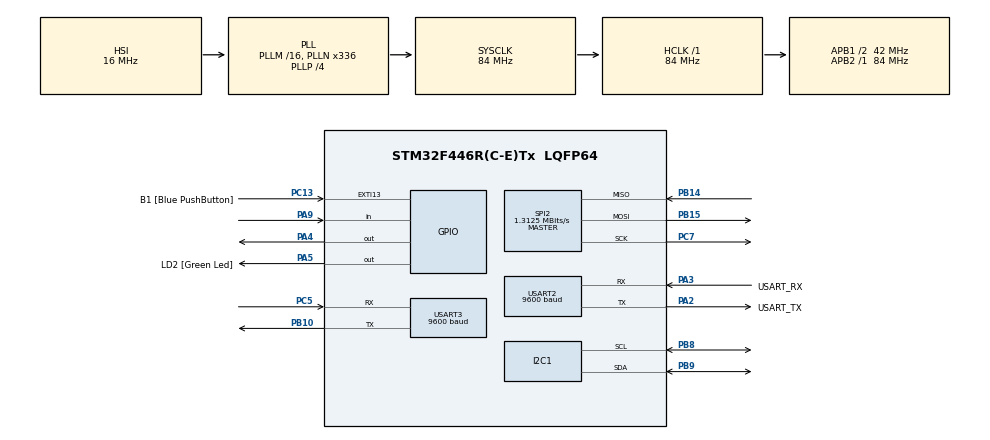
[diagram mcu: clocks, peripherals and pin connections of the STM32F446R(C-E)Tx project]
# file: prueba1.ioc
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Dma.I2C1_RX.1.Direction=DMA_PERIPH_TO_MEMORY
Dma.I2C1_RX.1.FIFOMode=DMA_FIFOMODE_DISABLE
Dma.I2C1_RX.1.Instance=DMA1_Stream0
Dma.I2C1_RX.1.MemDataAlignment=DMA_MDATAALIGN_BYTE
Dma.I2C1_RX.1.MemInc=DMA_MINC_ENABLE
Dma.I2C1_RX.1.Mode=DMA_NORMAL
Dma.I2C1_RX.1.PeriphDataAlignment=DMA_PDATAALIGN_BYTE
Dma.I2C1_RX.1.PeriphInc=DMA_PINC_DISABLE
Dma.I2C1_RX.1.Priority=DMA_PRIORITY_LOW
Dma.I2C1_TX.0.Direction=DMA_MEMORY_TO_PERIPH
Dma.I2C1_TX.0.FIFOMode=DMA_FIFOMODE_DISABLE
Dma.I2C1_TX.0.Instance=DMA1_Stream6
Dma.I2C1_TX.0.MemDataAlignment=DMA_MDATAALIGN_BYTE
Dma.I2C1_TX.0.MemInc=DMA_MINC_ENABLE
Dma.I2C1_TX.0.Mode=DMA_NORMAL
Dma.I2C1_TX.0.PeriphDataAlignment=DMA_PDATAALIGN_BYTE
Dma.I2C1_TX.0.PeriphInc=DMA_PINC_DISABLE
Dma.I2C1_TX.0.Priority=DMA_PRIORITY_LOW
Dma.Request0=I2C1_TX
Dma.Request1=I2C1_RX
Mcu.Family=STM32F4
Mcu.Name=STM32F446R(C-E)Tx
Mcu.Package=LQFP64
NVIC.DMA1_Stream0_IRQn=true\:0\:0\:false\:false\:true\:false\:true\:true
NVIC.DMA1_Stream6_IRQn=true\:0\:0\:false\:false\:true\:false\:true\:true
NVIC.PriorityGroup=NVIC_PRIORITYGROUP_0
NVIC.USART3_IRQn=true\:0\:0\:false\:false\:true\:true\:true\:true
PA13.GPIO_Label=TMS
PA13.Mode=Serial_Wire
PA13.Signal=SYS_JTMS-SWDIO
PA14.GPIO_Label=TCK
PA14.Mode=Serial_Wire
PA14.Signal=SYS_JTCK-SWCLK
PA2.GPIO_Label=USART_TX
PA2.Mode=Asynchronous
PA2.Signal=USART2_TX
PA3.GPIO_Label=USART_RX
PA3.Mode=Asynchronous
PA3.Signal=USART2_RX
PA4.GPIO_PuPd=GPIO_PULLUP
PA4.Signal=GPIO_Output
PA5.GPIO_Label=LD2 [Green Led]
PA5.GPIO_PuPd=GPIO_PULLUP
PA5.Signal=GPIO_Output
PA9.Signal=GPIO_Input
PB10.Mode=Asynchronous
PB10.Signal=USART3_TX
PB14.GPIO_PuPd=GPIO_PULLUP
PB14.Mode=Full_Duplex_Master
PB14.Signal=SPI2_MISO
PB15.GPIO_PuPd=GPIO_PULLUP
PB15.Mode=Full_Duplex_Master
PB15.Signal=SPI2_MOSI
PB3.GPIO_Label=SWO
PB3.Signal=SYS_JTDO-SWO
PB8.GPIO_Pu=GPIO_PULLUP
PB8.Mode=I2C
PB8.Signal=I2C1_SCL
PB9.GPIO_Pu=GPIO_PULLUP
PB9.Mode=I2C
PB9.Signal=I2C1_SDA
PC13.GPIO_Label=B1 [Blue PushButton]
PC13.GPIO_ModeDefaultEXTI=GPIO_MODE_IT_FALLING
PC13.Signal=GPXTI13
PC14-OSC32_IN.Mode=LSE-External-Oscillator
PC14-OSC32_IN.Signal=RCC_OSC32_IN
PC15-OSC32_OUT.Mode=LSE-External-Oscillator
PC15-OSC32_OUT.Signal=RCC_OSC32_OUT
PC5.Mode=Asynchronous
PC5.Signal=USART3_RX
PC7.GPIO_PuPd=GPIO_PULLUP
PC7.Mode=Full_Duplex_Master
PC7.Signal=SPI2_SCK
PH0-OSC_IN.Mode=HSE-External-Oscillator
PH0-OSC_IN.Signal=RCC_OSC_IN
PH1-OSC_OUT.Mode=HSE-External-Oscillator
PH1-OSC_OUT.Signal=RCC_OSC_OUT
ProjectManager.HeapSize=0x200
ProjectManager.StackSize=0x400
ProjectManager.TargetToolchain=STM32CubeIDE
RCC.48MHZClocksFreq_Value=84000000
RCC.AHBFreq_Value=84000000
RCC.APB1CLKDivider=RCC_HCLK_DIV2
RCC.APB1Freq_Value=42000000
RCC.APB1TimFreq_Value=84000000
RCC.APB2Freq_Value=84000000
RCC.APB2TimFreq_Value=84000000
RCC.CortexFreq_Value=84000000
RCC.FLatency-AdvancedSettings=FLASH_LATENCY_2
RCC.HCLKFreq_Value=84000000
RCC.HSE_VALUE=8000000
RCC.HSI_VALUE=16000000
RCC.PLLN=336
RCC.PLLP=RCC_PLLP_DIV4
RCC.SYSCLKFreq_VALUE=84000000
RCC.SYSCLKSource=RCC_SYSCLKSOURCE_PLLCLK
RCC.USBFreq_Value=168000000
RCC.VCOOutputFreq_Value=336000000
SPI2.BaudRatePrescaler=SPI_BAUDRATEPRESCALER_32
SPI2.CLKPhase=SPI_PHASE_1EDGE
SPI2.CLKPolarity=SPI_POLARITY_HIGH
SPI2.CalculateBaudRate=1.3125 MBits/s
SPI2.Direction=SPI_DIRECTION_2LINES
SPI2.Mode=SPI_MODE_MASTER
SPI2.VirtualType=VM_MASTER
USART2.BaudRate=9600
USART2.VirtualMode=VM_ASYNC
USART3.BaudRate=9600
USART3.Parity=PARITY_EVEN
USART3.VirtualMode=VM_ASYNC
USART3.WordLength=WORDLENGTH_9B
board=NUCLEO-F446RE

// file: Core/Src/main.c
/* USER CODE BEGIN Header */
/**
 ******************************************************************************
 * @file           : main.c
 * @brief          : Main program body (NUCLEO-F446RE + L3G4200D)
 ******************************************************************************
 * @attention
 *  Gyroscope Payload for CURTIS
 ******************************************************************************
 */
/* USER CODE END Header */
#include "main.h"

/* USER CODE BEGIN Includes */
#include <stdio.h>
#include <string.h>
#include <stdbool.h>
#include <math.h>
/* USER CODE END Includes */

/* USER CODE BEGIN PD */
/* Direcciones/Registros L3G4200D */
#define L3G4200D_ADDR      (0x69 << 1)  // 8-bit address (0xD2/0xD3)
#define L3G4200D_WHO_AM_I  0x0F
#define L3G4200D_CTRL_REG1 0x20
#define L3G4200D_CTRL_REG4  0x23
#define L3G4200D_OUT_X_L   0x28
#define L3G4200D_STATUS_REG  0x27
#define ZYXDA                0x08  // New data available on all axes
#define MAX_SAMPLES_TO_LOG  1
#define BYTES_PER_SAMPLE    10
/* USER CODE END PD */

I2C_HandleTypeDef hi2c1;
DMA_HandleTypeDef hdma_i2c1_tx;
DMA_HandleTypeDef hdma_i2c1_rx;

SPI_HandleTypeDef hspi2;

UART_HandleTypeDef huart2;
UART_HandleTypeDef huart3;

/* USER CODE BEGIN PV */
int16_t gyro_x, gyro_y, gyro_z;
char msg[64];
bool gyro_ok = false;
volatile uint8_t tx_busy = 0;

/* Conversion and bias */
static int16_t bias_x = 0, bias_y = 0, bias_z = 0;

/* ---- Estado para STS ---- */
volatile uint8_t flag_capture_active = 0;  // B0: logging de giroscopio
volatile uint8_t flag_flash_saving = 0;  // B1: guardando en MSFM
volatile uint8_t flag_data_transfer = 0;  // B2: transferencia (no usada aquí)

// UART routing
#define UART_PC   huart2   // Laptop / ST-Link VCP (debug)
#define UART_OBC  huart3   // Link hacia OBC (commands/responses)

#define FLASH_SECTOR_SIZE   (64UL*1024UL)
#define FLASH_PAGE_SIZE     (4UL*1024UL)
#define FLASH_SLOT_SIZE     (4UL*1024*1024UL)  // mem_block_size del PIC
#define GYRO_SLOT_INDEX     0
#define GYRO_BASE_ADDR (704UL * 64UL * 1024UL)  // = 0x02C00000
// Opcodes according to Main PIC's code
#define FLASH_CMD_RDID        0x9F
#define FLASH_CMD_RDSR        0x05
#define FLASH_CMD_WREN        0x06
#define FLASH_CMD_PP          0x12   // Page program
#define FLASH_CMD_READ        0x13   // Read 4-byte addressing
#define FLASH_CMD_ERASE_SECT  0xDC

// Macros for CS
#define FLASH_CS_LOW()  HAL_GPIO_WritePin(GPIOA, GPIO_PIN_4, GPIO_PIN_RESET)
#define FLASH_CS_HIGH() HAL_GPIO_WritePin(GPIOA, GPIO_PIN_4, GPIO_PIN_SET)

/* USER CODE END PV */

void SystemClock_Config(void);
static void MX_GPIO_Init(void);
static void MX_DMA_Init(void);
static void MX_USART2_UART_Init(void);
static void MX_I2C1_Init(void);
static void MX_SPI2_Init(void);
static void MX_USART3_UART_Init(void);
/* USER CODE BEGIN PFP */
/* Prototipos de utilidades y sensor */
static void PC_Print(const char *s);
static void PC_PrintHex64(const char *tag, const uint8_t *buf);
uint8_t I2C_ReadByte(uint8_t reg);
void I2C_WriteByte(uint8_t reg, uint8_t value);
void L3G4200D_Init(void);
bool L3G4200D_ReadGyro(int16_t *x, int16_t *y, int16_t *z);
static void Gyro_Calibrate(uint16_t n);
void log_current_gyro(uint32_t t_ms, int16_t gx, int16_t gy, int16_t gz);
uint8_t cam_checksum(const char *s);
size_t cam_build_response(const char *inner, uint8_t *out);
void handle_cam_command(const char *inner_cmd);
void CheckOBC_Task(uint32_t timeout_ms);
static void PC_PrintHexN(const char *tag, const uint8_t *buf, size_t nbytes);
static inline void UART_OBC_ClearRxErrors(void);
static inline uint8_t cmd_q_pop(char *out);
static void FLASH_PrintSR(const char *tag);
static bool FLASH_WriteStatus(uint8_t sr);
static uint8_t FLASH_ReadSR(void);

/* Prototypes for FM*/
bool FLASH_WriteEnable(void);
bool FLASH_WaitBusy(uint32_t timeout_ms);
bool FLASH_SectorErase(uint32_t addr);
bool FLASH_PageProgram(uint32_t addr, const uint8_t *data, uint32_t len);
void FLASH_Read(uint32_t addr, uint8_t *data, uint32_t len);
bool FLASH_WriteLogToMissionFlash(void);
static void build_STS_inner(char *inner, size_t inner_size);
static int hex_nibble(char c);
static bool parse_hex2(const char *p, uint8_t *out);

/* USER CODE END PFP */

/* USER CODE BEGIN 0 */
typedef struct __attribute__((packed)) {
	uint32_t t_ms;  // timestamp ms
	int16_t gx;
	int16_t gy;
	int16_t gz;
} GyroSample;

#define MAX_SAMPLES 1500
GyroSample gyro_log[MAX_SAMPLES];
uint32_t gyro_count = 0;

volatile uint8_t pending_flash_write = 0;
volatile uint8_t last_cap_result_ok = 1; // opcional

// MSN (UART)
#define CAM_MSG_LEN 64
#define OBC_HEADER  0x0B
#define CAM_HEADER  0xCA
#define INNER_MAX   32
#define CMD_Q_SIZE  16

#define RXRB_SIZE 256
static volatile uint8_t rxrb[RXRB_SIZE];
static volatile uint16_t rxrb_w = 0, rxrb_r = 0;

static volatile uint8_t cmd_q_head = 0;
static volatile uint8_t cmd_q_tail = 0;
static char cmd_q[CMD_Q_SIZE][INNER_MAX];

static volatile uint8_t pending_rst01 = 0;
static uint8_t obc_rx_byte;

/* USER CODE END 0 */

int main(void)
{

  /* MCU Configuration--------------------------------------------------------*/

  /* Reset of all peripherals, Initializes the Flash interface and the Systick. */
  HAL_Init();

  /* Configure the system clock */
  SystemClock_Config();

  /* Initialize all configured peripherals */
  MX_GPIO_Init();
  MX_DMA_Init();
  MX_USART2_UART_Init();
  MX_I2C1_Init();
  MX_SPI2_Init();
  MX_USART3_UART_Init();
  /* USER CODE BEGIN 2 */
  /*
  PC_Print("=== GPIO STATE BEFORE SPI INIT ===\r\n");

  char dbg[128];

  snprintf(dbg,sizeof(dbg),
      "CS (PA4)  = %d\r\n", HAL_GPIO_ReadPin(GPIOA, GPIO_PIN_4));
  PC_Print(dbg);

  snprintf(dbg,sizeof(dbg),
      "SCK (PC7) = %d\r\n", HAL_GPIO_ReadPin(GPIOC, GPIO_PIN_7));
  PC_Print(dbg);

  snprintf(dbg,sizeof(dbg),
      "MISO(PB14)= %d\r\n", HAL_GPIO_ReadPin(GPIOB, GPIO_PIN_14));
  PC_Print(dbg);

  snprintf(dbg,sizeof(dbg),
      "MOSI(PB15)= %d\r\n", HAL_GPIO_ReadPin(GPIOB, GPIO_PIN_15));
  PC_Print(dbg);
  */
  FLASH_CS_HIGH();
  PC_Print("\r\n[FLASH] Testing CS pin...\r\n");

  // TEST: Verificar que el CS funciona
  char dbg[64];
  uint8_t cs_before = HAL_GPIO_ReadPin(GPIOA, GPIO_PIN_4);
  snprintf(dbg, sizeof(dbg), "[TEST] CS antes: %d (debe ser 1)\r\n", cs_before);
  PC_Print(dbg);

  FLASH_CS_LOW();
  HAL_Delay(100);
  uint8_t cs_during = HAL_GPIO_ReadPin(GPIOA, GPIO_PIN_4);
  snprintf(dbg, sizeof(dbg), "[TEST] CS durante: %d (debe ser 0)\r\n", cs_during);
  PC_Print(dbg);

  FLASH_CS_HIGH();
  HAL_Delay(100);
  uint8_t cs_after = HAL_GPIO_ReadPin(GPIOA, GPIO_PIN_4);
  snprintf(dbg, sizeof(dbg), "[TEST] CS después: %d (debe ser 1)\r\n", cs_after);
  PC_Print(dbg);

  PC_Print("\r\n[FLASH] Probing RDID...\r\n");
  FLASH_Probe();

  FLASH_Enter4ByteAddr();
  PC_Print("[FLASH] Attempting to clear write protection...\r\n");
  //FLASH_GlobalUnprotect();

  //char dbg[64];

  // DIAGNOSTIC: Skip GlobalUnprotect (0x98 command appears to be wrong/unsupported)
  // Main PIC code works fine with just WREN before writes - no unprotect needed.
  // Testing hypothesis: 0x98 may not be correct for this MT25QL variant
  uint8_t sr_check = FLASH_ReadSR();
  snprintf(dbg, sizeof(dbg), "[FLASH] Current SR: 0x%02X (WIP=%d WEL=%d BP2=%d BP1=%d BP0=%d)\r\n",
      sr_check,
      (sr_check & 0x01) ? 1 : 0,
      (sr_check & 0x02) ? 1 : 0,
      (sr_check & 0x20) ? 1 : 0,
      (sr_check & 0x10) ? 1 : 0,
      (sr_check & 0x08) ? 1 : 0);
  PC_Print(dbg);
  //FLASH_PrintSR("[FLASH] SR before unlock:");
  /*
  uint8_t test_sr[5];
  for (int i = 0; i < 5; i++) {
      test_sr[i] = FLASH_ReadSR();
      snprintf(dbg, sizeof(dbg), "[FLASH] Test SR #%d = 0x%02X\r\n", i, test_sr[i]);
      PC_Print(dbg);
      HAL_Delay(100);
  }
  */
  //snprintf(dbg, sizeof(dbg), "[FLASH] WRSR returned: %s\r\n", unlock_ok ? "OK" : "FAILED");
  //PC_Print(dbg);
  //FLASH_PrintSR("[FLASH] SR after unlock:");
  HAL_UART_Receive_IT(&UART_OBC, &obc_rx_byte, 1);
  //char dbg[64];
  //snprintf(dbg,sizeof(dbg),"SR raw = 0x%02X\r\n",sr);
  //PC_Print(dbg);
	HAL_Delay(5000);
	L3G4200D_Init();
	//UART_Print("Gyro Initialized\r\n");
	//UART_Print("Keep still for bias calib...\r\n");
	Gyro_Calibrate(200);

  /* USER CODE END 2 */

  /* Infinite loop */
  /* USER CODE BEGIN WHILE */
	/* Infinite loop */
	while (1) {
		static uint32_t t0_ms = 0;
		uint32_t now_ms = HAL_GetTick();
		if (t0_ms == 0)
			t0_ms = now_ms;
		CheckOBC_Task(0);

		// 3.1) Si hubo checksum mismatch, responde UNA vez (desde main loop)
		if (!tx_busy && pending_rst01) {
		    pending_rst01 = 0;

		    uint8_t tx_buf[CAM_MSG_LEN];
		    size_t tx_len = cam_build_response("RST01", tx_buf);

		    tx_busy = 1;
		    HAL_UART_Transmit(&UART_OBC, tx_buf, CAM_MSG_LEN, 500);
		    UART_OBC_ClearRxErrors();
		    tx_busy = 0;

		    PC_PrintHexN("[TX->OBC frame] ", tx_buf, tx_len);
		    PC_Print("\r\n");
		    PC_PrintHexN("[TX->OBC 64B ] ", tx_buf, CAM_MSG_LEN);
		    PC_Print("\r\n");
		}

		// 1) Log a RAM (gyro)
		if (gyro_ok && gyro_count < MAX_SAMPLES) {
			flag_capture_active = 1;
			////CheckOBC_Task(5);
			if (L3G4200D_ReadGyro(&gyro_x, &gyro_y, &gyro_z)) {
				//CheckOBC_Task(5):
				log_current_gyro(now_ms - t0_ms, gyro_x - bias_x,
						gyro_y - bias_y, gyro_z - bias_z);
				//CheckOBC_Task(5);
			}
		} else {
			//CheckOBC_Task(5):
			flag_capture_active = 0;
		}

		// 2) Si hubo CAP, escribe flash y responde UNA vez
		if (pending_flash_write) {
			//CheckOBC_Task(5);
			pending_flash_write = 0;
			//CheckOBC_Task(5):
			bool ok = FLASH_WriteLogToMissionFlash();
			//CheckOBC_Task(5):
			last_cap_result_ok = ok ? 1 : 0;

			//CheckOBC_Task(5);

			flag_flash_saving = 0;
		}

		if (!tx_busy) {
			//CheckOBC_Task(5);
			char tmp[INNER_MAX];
			if (cmd_q_pop(tmp)) {
				handle_cam_command(tmp);
			}
		}

	}
    /* USER CODE END WHILE */

}

void SystemClock_Config(void)
{
  RCC_OscInitTypeDef RCC_OscInitStruct = {0};
  RCC_ClkInitTypeDef RCC_ClkInitStruct = {0};

  /** Configure the main internal regulator output voltage
  */
  __HAL_RCC_PWR_CLK_ENABLE();
  __HAL_PWR_VOLTAGESCALING_CONFIG(PWR_REGULATOR_VOLTAGE_SCALE3);

  /** Initializes the RCC Oscillators according to the specified parameters
  * in the RCC_OscInitTypeDef structure.
  */
  RCC_OscInitStruct.OscillatorType = RCC_OSCILLATORTYPE_HSI;
  RCC_OscInitStruct.HSIState = RCC_HSI_ON;
  RCC_OscInitStruct.HSICalibrationValue = RCC_HSICALIBRATION_DEFAULT;
  RCC_OscInitStruct.PLL.PLLState = RCC_PLL_ON;
  RCC_OscInitStruct.PLL.PLLSource = RCC_PLLSOURCE_HSI;
  RCC_OscInitStruct.PLL.PLLM = 16;
  RCC_OscInitStruct.PLL.PLLN = 336;
  RCC_OscInitStruct.PLL.PLLP = RCC_PLLP_DIV4;
  RCC_OscInitStruct.PLL.PLLQ = 2;
  RCC_OscInitStruct.PLL.PLLR = 2;
  if (HAL_RCC_OscConfig(&RCC_OscInitStruct) != HAL_OK)
  {
    Error_Handler();
  }

  /** Initializes the CPU, AHB and APB buses clocks
  */
  RCC_ClkInitStruct.ClockType = RCC_CLOCKTYPE_HCLK|RCC_CLOCKTYPE_SYSCLK
                              |RCC_CLOCKTYPE_PCLK1|RCC_CLOCKTYPE_PCLK2;
  RCC_ClkInitStruct.SYSCLKSource = RCC_SYSCLKSOURCE_PLLCLK;
  RCC_ClkInitStruct.AHBCLKDivider = RCC_SYSCLK_DIV1;
  RCC_ClkInitStruct.APB1CLKDivider = RCC_HCLK_DIV2;
  RCC_ClkInitStruct.APB2CLKDivider = RCC_HCLK_DIV1;

  if (HAL_RCC_ClockConfig(&RCC_ClkInitStruct, FLASH_LATENCY_2) != HAL_OK)
  {
    Error_Handler();
  }
}

static void MX_I2C1_Init(void)
{

  hi2c1.Instance = I2C1;
  hi2c1.Init.ClockSpeed = 100000;
  hi2c1.Init.DutyCycle = I2C_DUTYCYCLE_2;
  hi2c1.Init.OwnAddress1 = 0;
  hi2c1.Init.AddressingMode = I2C_ADDRESSINGMODE_7BIT;
  hi2c1.Init.DualAddressMode = I2C_DUALADDRESS_DISABLE;
  hi2c1.Init.OwnAddress2 = 0;
  hi2c1.Init.GeneralCallMode = I2C_GENERALCALL_DISABLE;
  hi2c1.Init.NoStretchMode = I2C_NOSTRETCH_DISABLE;
  if (HAL_I2C_Init(&hi2c1) != HAL_OK)
  {
    Error_Handler();
  }

}

static void MX_SPI2_Init(void)
{

  /* SPI2 parameter configuration*/
  hspi2.Instance = SPI2;
  hspi2.Init.Mode = SPI_MODE_MASTER;
  hspi2.Init.Direction = SPI_DIRECTION_2LINES;
  hspi2.Init.DataSize = SPI_DATASIZE_8BIT;
  hspi2.Init.CLKPolarity = SPI_POLARITY_HIGH;
  hspi2.Init.CLKPhase = SPI_PHASE_1EDGE;
  hspi2.Init.NSS = SPI_NSS_SOFT;
  hspi2.Init.BaudRatePrescaler = SPI_BAUDRATEPRESCALER_32;
  hspi2.Init.FirstBit = SPI_FIRSTBIT_MSB;
  hspi2.Init.TIMode = SPI_TIMODE_DISABLE;
  hspi2.Init.CRCCalculation = SPI_CRCCALCULATION_DISABLE;
  hspi2.Init.CRCPolynomial = 10;
  if (HAL_SPI_Init(&hspi2) != HAL_OK)
  {
    Error_Handler();
  }

}

static void MX_USART2_UART_Init(void)
{

  huart2.Instance = USART2;
  huart2.Init.BaudRate = 9600;
  huart2.Init.WordLength = UART_WORDLENGTH_8B;
  huart2.Init.StopBits = UART_STOPBITS_1;
  huart2.Init.Parity = UART_PARITY_NONE;
  huart2.Init.Mode = UART_MODE_TX_RX;
  huart2.Init.HwFlowCtl = UART_HWCONTROL_NONE;
  huart2.Init.OverSampling = UART_OVERSAMPLING_16;
  if (HAL_UART_Init(&huart2) != HAL_OK)
  {
    Error_Handler();
  }

}

static void MX_USART3_UART_Init(void)
{

  huart3.Instance = USART3;
  huart3.Init.BaudRate = 9600;
  huart3.Init.WordLength = UART_WORDLENGTH_9B;
  huart3.Init.StopBits = UART_STOPBITS_1;
  huart3.Init.Parity = UART_PARITY_EVEN;
  huart3.Init.Mode = UART_MODE_TX_RX;
  huart3.Init.HwFlowCtl = UART_HWCONTROL_NONE;
  huart3.Init.OverSampling = UART_OVERSAMPLING_16;
  if (HAL_UART_Init(&huart3) != HAL_OK)
  {
    Error_Handler();
  }

}

static void MX_DMA_Init(void)
{

  /* DMA controller clock enable */
  __HAL_RCC_DMA1_CLK_ENABLE();

  /* DMA interrupt init */
  /* DMA1_Stream0_IRQn interrupt configuration */
  HAL_NVIC_SetPriority(DMA1_Stream0_IRQn, 0, 0);
  HAL_NVIC_EnableIRQ(DMA1_Stream0_IRQn);
  /* DMA1_Stream6_IRQn interrupt configuration */
  HAL_NVIC_SetPriority(DMA1_Stream6_IRQn, 0, 0);
  HAL_NVIC_EnableIRQ(DMA1_Stream6_IRQn);

}

static void MX_GPIO_Init(void)
{
  GPIO_InitTypeDef GPIO_InitStruct = {0};

  /* GPIO Ports Clock Enable */
  __HAL_RCC_GPIOC_CLK_ENABLE();
  __HAL_RCC_GPIOH_CLK_ENABLE();
  __HAL_RCC_GPIOA_CLK_ENABLE();
  __HAL_RCC_GPIOB_CLK_ENABLE();

  /*Configure GPIO pin Output Level */
  HAL_GPIO_WritePin(GPIOA, GPIO_PIN_4|LD2_Pin, GPIO_PIN_RESET);

  /*Configure GPIO pin : B1_Pin */
  GPIO_InitStruct.Pin = B1_Pin;
  GPIO_InitStruct.Mode = GPIO_MODE_IT_FALLING;
  GPIO_InitStruct.Pull = GPIO_NOPULL;
  HAL_GPIO_Init(B1_GPIO_Port, &GPIO_InitStruct);

  /*Configure GPIO pins : PA4 LD2_Pin */
  GPIO_InitStruct.Pin = GPIO_PIN_4|LD2_Pin;
  GPIO_InitStruct.Mode = GPIO_MODE_OUTPUT_PP;
  GPIO_InitStruct.Pull = GPIO_PULLUP;
  GPIO_InitStruct.Speed = GPIO_SPEED_FREQ_LOW;
  HAL_GPIO_Init(GPIOA, &GPIO_InitStruct);

  /*Configure GPIO pin : PA9 */
  GPIO_InitStruct.Pin = GPIO_PIN_9;
  GPIO_InitStruct.Mode = GPIO_MODE_INPUT;
  GPIO_InitStruct.Pull = GPIO_NOPULL;
  HAL_GPIO_Init(GPIOA, &GPIO_InitStruct);

}

/* USER CODE BEGIN 4 */
void FLASH_GlobalUnprotect(void)
{
    // Step 1: Write 0x00 to clear SRWD (status register write disable) and BP bits
    // This also clears WEL, WIP in the process

    if (!FLASH_WriteEnable()) {
        PC_Print("[FLASH] WREN failed\r\n");
        return;
    }

    uint8_t cmd[2] = { 0x01, 0x00 }; // WRSR with 0x00
    FLASH_CS_LOW();
    HAL_SPI_Transmit(&hspi2, cmd, 2, 200);
    FLASH_CS_HIGH();

    HAL_Delay(100); // Wait for WRSR to complete

    uint8_t sr_after = FLASH_ReadSR();
    char dbg[100];
    snprintf(dbg, sizeof(dbg),
        "[FLASH] After WRSR(0x00): SR=0x%02X (SRWD=%d BP3=%d BP2=%d BP1=%d BP0=%d)\r\n",
        sr_after,
        (sr_after & 0x40) ? 1 : 0,  // SRWD bit 6
        (sr_after & 0x20) ? 1 : 0,  // BP3 bit 5
        (sr_after & 0x10) ? 1 : 0,  // BP2 bit 4
        (sr_after & 0x08) ? 1 : 0,  // BP1 bit 3
        (sr_after & 0x04) ? 1 : 0); // BP0 bit 2
    PC_Print(dbg);
}
static void SPI_GPIO_Snapshot(const char *tag)
{
    char dbg[128];

    snprintf(dbg, sizeof(dbg),
        "%s | SCK=%d MOSI=%d MISO=%d CS=%d\r\n",
        tag,
        HAL_GPIO_ReadPin(GPIOC, GPIO_PIN_7),   // SCK SPI2
        HAL_GPIO_ReadPin(GPIOB, GPIO_PIN_15),  // MOSI SPI2
        HAL_GPIO_ReadPin(GPIOB, GPIO_PIN_14),  // MISO SPI2
        HAL_GPIO_ReadPin(GPIOA, GPIO_PIN_4));  // CS
    PC_Print(dbg);
}

static void FLASH_PrintSR(const char *tag)
{
    uint8_t sr = FLASH_ReadSR();
    char s[80];
    snprintf(s, sizeof(s),
             "%s SR=0x%02X  WIP=%u  WEL=%u  BP=%u%u%u\r\n",
             tag, sr,
             (sr & 0x01) ? 1 : 0,
             (sr & 0x02) ? 1 : 0,
             (sr & 0x20) ? 1 : 0,  // BP2
             (sr & 0x10) ? 1 : 0,  // BP1
             (sr & 0x08) ? 1 : 0   // BP0  (ojo: en algunos chips BP bits pueden variar)
    );
    PC_Print(s);
}
static uint8_t FLASH_ReadSR(void)
{
    uint8_t cmd = FLASH_CMD_RDSR; // 0x05
    uint8_t sr  = 0;
    FLASH_CS_LOW();
    HAL_SPI_Transmit(&hspi2, &cmd, 1, 100);
    HAL_SPI_Receive(&hspi2, &sr,  1, 100);
    FLASH_CS_HIGH();
    return sr;
}

void FLASH_Enter4ByteAddr(void)
{
    uint8_t cmd = 0xB7; // Enter 4-byte address mode
    FLASH_CS_LOW();
    HAL_SPI_Transmit(&hspi2, &cmd, 1, 100);
    FLASH_CS_HIGH();
    PC_Print("[FLASH] Entered 4-byte address mode\r\n");
}

static void FLASH_DumpHex(const char *tag, const uint8_t *b, uint32_t n)
{
    char line[64];
    PC_Print(tag);
    for (uint32_t i = 0; i < n; i++) {
        snprintf(line, sizeof(line), "%02X ", b[i]);
        PC_Print(line);
    }
    PC_Print("\r\n");
}

/* Lee usando tu comando 0x13 (4-byte address) */
static void FLASH_Read_4B(uint32_t addr, uint8_t *data, uint32_t len)
{
    uint8_t cmd[5];
    cmd[0] = FLASH_CMD_READ; // 0x13
    cmd[1] = (addr >> 24) & 0xFF;
    cmd[2] = (addr >> 16) & 0xFF;
    cmd[3] = (addr >> 8)  & 0xFF;
    cmd[4] = (addr >> 0)  & 0xFF;

    FLASH_CS_LOW();
    HAL_SPI_Transmit(&hspi2, cmd, 5, 200);
    HAL_SPI_Receive(&hspi2, data, len, 200);
    FLASH_CS_HIGH();
}
static inline int rxrb_pop(uint8_t *out) {
    if (rxrb_r == rxrb_w) return 0;
    *out = rxrb[rxrb_r];
    rxrb_r = (rxrb_r + 1) % RXRB_SIZE;
    return 1;
}

void HAL_UART_RxCpltCallback(UART_HandleTypeDef *huart)
{
    if (huart->Instance == UART_OBC.Instance) {
        uint16_t next = (rxrb_w + 1) % RXRB_SIZE;
        if (next != rxrb_r) {          // no lleno
            rxrb[rxrb_w] = obc_rx_byte;
            rxrb_w = next;
        }
        HAL_UART_Receive_IT(&UART_OBC, &obc_rx_byte, 1);
    }
}

void HAL_UART_ErrorCallback(UART_HandleTypeDef *huart)
{
    if (huart->Instance == UART_OBC.Instance) {
        UART_OBC_ClearRxErrors();
        HAL_UART_AbortReceive_IT(&UART_OBC);
        HAL_UART_Receive_IT(&UART_OBC, &obc_rx_byte, 1);
    }
}
static inline void UART_OBC_ClearRxErrors(void) {
    __HAL_UART_CLEAR_OREFLAG(&UART_OBC);
    __HAL_UART_CLEAR_FEFLAG(&UART_OBC);
    __HAL_UART_CLEAR_NEFLAG(&UART_OBC);
    __HAL_UART_CLEAR_PEFLAG(&UART_OBC);
}

static inline uint8_t cmd_q_is_empty(void) {
	return (cmd_q_head == cmd_q_tail);
}
static inline uint8_t cmd_q_is_full(void) {
	return ((uint8_t) (cmd_q_head + 1) % CMD_Q_SIZE) == cmd_q_tail;
}
static inline void cmd_q_push(const char *s) {
  __disable_irq();
  if (cmd_q_is_full()) { __enable_irq(); return; }

  strncpy(cmd_q[cmd_q_head], s, INNER_MAX-1);
  cmd_q[cmd_q_head][INNER_MAX-1] = '\0';
  cmd_q_head = (uint8_t)(cmd_q_head + 1) % CMD_Q_SIZE;
  __enable_irq();
}

static inline uint8_t cmd_q_pop(char *out) {
  __disable_irq();
  if (cmd_q_is_empty()) { __enable_irq(); return 0; }

  strncpy(out, cmd_q[cmd_q_tail], INNER_MAX);
  cmd_q_tail = (uint8_t)(cmd_q_tail + 1) % CMD_Q_SIZE;
  __enable_irq();
  return 1;
}

static int hex_nibble(char c) {
	if (c >= '0' && c <= '9')
		return c - '0';
	if (c >= 'A' && c <= 'F')
		return 10 + (c - 'A');
	if (c >= 'a' && c <= 'f')
		return 10 + (c - 'a');
	return -1;
}

static bool parse_hex2(const char *p, uint8_t *out) {
	int hi = hex_nibble(p[0]);
	int lo = hex_nibble(p[1]);
	if (hi < 0 || lo < 0)
		return false;
	*out = (uint8_t) ((hi << 4) | lo);
	return true;
}

void FLASH_Probe(void)
{
    uint8_t tx[4] = { FLASH_CMD_RDID, 0x00, 0x00, 0x00 };
    uint8_t rx[4] = { 0 };

    //SPI_GPIO_Snapshot("RDID before CS");

    FLASH_CS_LOW();
    //SPI_GPIO_Snapshot("RDID after CS LOW");

    HAL_StatusTypeDef st =
        HAL_SPI_TransmitReceive(&hspi2, tx, rx, sizeof(tx), 200);

    //SPI_GPIO_Snapshot("RDID after TXRX");

    FLASH_CS_HIGH();
    //SPI_GPIO_Snapshot("RDID after CS HIGH");

    if (st != HAL_OK) {
        PC_Print("[FLASH][ERR] SPI TxRx failed\r\n");
    }

    char id_dbg[64];
    snprintf(id_dbg, sizeof(id_dbg),
             "[FLASH] RDID = %02X %02X %02X\r\n",
             rx[1], rx[2], rx[3]);
    PC_Print(id_dbg);
}
/* ======== Utilidades UART/I2C y manejo de giroscopio ======== */
static void PC_Print(const char *s) {
	HAL_UART_Transmit(&UART_PC, (uint8_t*) s, strlen(s), 500);
}

static void PC_PrintHex64(const char *tag, const uint8_t *buf) {
	char line[256];
	int n = 0;

	n += snprintf(line + n, sizeof(line) - n, "%s", tag);
	for (int i = 0; i < CAM_MSG_LEN; i++) {
		n += snprintf(line + n, sizeof(line) - n, "%02X ", buf[i]);
		if (n >= (int) sizeof(line) - 4)
			break;
	}
	n += snprintf(line + n, sizeof(line) - n, "\r\n");
	PC_Print(line);
}

static void PC_PrintHexN(const char *tag, const uint8_t *buf, size_t nbytes) {
	char line[512];   // <-- antes 256
	int n = 0;
	n += snprintf(line + n, sizeof(line) - n, "%s", tag);
	for (size_t i = 0; i < nbytes; i++) {
		n += snprintf(line + n, sizeof(line) - n, "%02X ", buf[i]);
		if (n >= (int) sizeof(line) - 4)
			break;
	}
	n += snprintf(line + n, sizeof(line) - n, "\r\n");
	PC_Print(line);
}

uint8_t I2C_ReadByte(uint8_t reg) {
	uint8_t data;
	HAL_I2C_Mem_Read(&hi2c1, L3G4200D_ADDR, reg, I2C_MEMADD_SIZE_8BIT, &data, 1,
			100);
	return data;
}

void I2C_WriteByte(uint8_t reg, uint8_t value) {
	HAL_I2C_Mem_Write(&hi2c1, L3G4200D_ADDR, reg, I2C_MEMADD_SIZE_8BIT, &value,
			1, 100);
}

void L3G4200D_Init(void) {
	uint8_t who = I2C_ReadByte(L3G4200D_WHO_AM_I);
	if (who != 0xD3) {
		PC_Print("L3G4200D not found! WHO_AM_I failed.\r\n");
		gyro_ok = false;
		return;
	} else {
		PC_Print("L3G4200D detected successfully.\r\n");
		gyro_ok = true;
	}

	I2C_WriteByte(L3G4200D_CTRL_REG1, 0x0F);
	I2C_WriteByte(L3G4200D_CTRL_REG4, 0x00);
}

static void I2C_RecoverIfNeeded(void) {
	// Si el bus quedó en estado BUSY/AF/ARLO/BERR, reinicia el periférico I2C1
	if (__HAL_I2C_GET_FLAG(&hi2c1, I2C_FLAG_BUSY)) {
		// Deshabilita/rehabilita periférico (soft reset de I2C)
		__HAL_I2C_DISABLE(&hi2c1);
		HAL_Delay(1);
		__HAL_I2C_ENABLE(&hi2c1);
	}
}

static void Gyro_Calibrate(uint16_t n) {
	int32_t sx = 0, sy = 0, sz = 0;
	int16_t x, y, z;
	for (uint16_t i = 0; i < n; i++) {
		while (!L3G4200D_ReadGyro(&x, &y, &z)) {
			HAL_Delay(1);
		}
		sx += x;
		sy += y;
		sz += z;
		HAL_Delay(2);
	}
	bias_x = (int16_t) (sx / (int32_t) n);
	bias_y = (int16_t) (sy / (int32_t) n);
	bias_z = (int16_t) (sz / (int32_t) n);
}

bool L3G4200D_ReadGyro(int16_t *x, int16_t *y, int16_t *z) {
	//CheckOBC_Task(5);
	uint8_t status = I2C_ReadByte(L3G4200D_STATUS_REG);
	if ((status & ZYXDA) == 0) {
		return false;
	}
	//CheckOBC_Task(5);
	uint8_t buf[6];
	HAL_StatusTypeDef st = HAL_I2C_Mem_Read(&hi2c1, L3G4200D_ADDR,
			(L3G4200D_OUT_X_L | 0x80),
			I2C_MEMADD_SIZE_8BIT, buf, 6, 10);
	//CheckOBC_Task(5);
	if (st != HAL_OK) {
		//CheckOBC_Task(5);
		I2C_RecoverIfNeeded();
		st = HAL_I2C_Mem_Read(&hi2c1, L3G4200D_ADDR, (L3G4200D_OUT_X_L | 0x80),
		I2C_MEMADD_SIZE_8BIT, buf, 6, 10);
		if (st != HAL_OK) {
			//CheckOBC_Task(5);
			HAL_I2C_DeInit(&hi2c1);
			HAL_I2C_Init(&hi2c1);
			return false;
		}
	}
	//CheckOBC_Task(5);

	*x = (int16_t) ((buf[1] << 8) | buf[0]);
	*y = (int16_t) ((buf[3] << 8) | buf[2]);
	*z = (int16_t) ((buf[5] << 8) | buf[4]);
	return true;
}

void log_current_gyro(uint32_t t_ms, int16_t gx, int16_t gy, int16_t gz) {
	//CheckOBC_Task(5);
	if (gyro_count >= MAX_SAMPLES)
		return;
	//CheckOBC_Task(5);
	gyro_log[gyro_count].t_ms = t_ms;
	gyro_log[gyro_count].gx = gx;
	gyro_log[gyro_count].gy = gy;
	gyro_log[gyro_count].gz = gz;
	gyro_count++;
	//CheckOBC_Task(5);
}

uint8_t cam_checksum(const char *s) {
	uint8_t c = 0;
	while (*s) {
		c ^= (uint8_t) (*s++);
	}
	return c;
}

static uint8_t cam_checksum_xor64(const uint8_t *frame64) {
	// XOR bytes 1..61 (excluye header [0], checksum [62] y footer [63])
	uint8_t c = 0;
	for (int i = 1; i <= 61; i++)
		c ^= frame64[i];
	return c;
}

static char hex_digit(uint8_t v) {
	v &= 0x0F;
	return (v < 10) ? ('0' + v) : ('A' + (v - 10));
}

static uint8_t cam_checksum_xor_range(const uint8_t *buf, int start, int end) {
	uint8_t c = 0;
	for (int i = start; i <= end; i++)
		c ^= buf[i];
	return c;
}

size_t cam_build_response(const char *inner, uint8_t *out) {
	//CheckOBC_Task(5);
	memset(out, 0, CAM_MSG_LEN);     // 64 bytes

	out[0] = CAM_HEADER;             // 0xCA
	//CheckOBC_Task(5);
	// inner goes in [1..60] max (because [61..62] are checksum ASCII)
	size_t len = strlen(inner);
	if (len > 60)
		len = 60;
	memcpy(&out[1], inner, len);
	//CheckOBC_Task(5);
	// checksum XOR of the C-string (stops at '\0')
	uint8_t cs = 0;
	for (int i = 1; i <= 60; i++)
		cs ^= out[i];
	//CheckOBC_Task(5);
	// place checksum as 2 ASCII hex digits at [61] and [62]
	out[61] = (uint8_t) hex_digit(cs >> 4);
	out[62] = (uint8_t) hex_digit(cs);
	//CheckOBC_Task(5);
	// footer fixed at last byte
	out[63] = CAM_HEADER + 1;        // 0xCB
	//CheckOBC_Task(5);
	uint8_t cs_str = cam_checksum(inner);
	uint8_t cs_fix = cam_checksum_xor_range(out, 1, 60);
	//CheckOBC_Task(5);
	char dbg[96];
	snprintf(dbg, sizeof(dbg),
			"DBG: cs_str=%02X cs_fix(1..60)=%02X ascii=%c%c\r\n", cs_str,
			cs_fix, out[61], out[62]);
	PC_Print(dbg);
	//CheckOBC_Task(5);
	return CAM_MSG_LEN;
}

void handle_cam_command(const char *inner_cmd) {
	//CheckOBC_Task(0);
	uint8_t tx_buf[CAM_MSG_LEN];
	size_t tx_len = 0;
	//CheckOBC_Task(0);
	snprintf(msg, sizeof(msg), "CMD from OBC: %s\r\n", inner_cmd);
	PC_Print(msg);
	//CheckOBC_Task(0);
	if (strncmp(inner_cmd, "STS", 3) == 0) {
		char inner[16];
		//CheckOBC_Task(0);
		build_STS_inner(inner, sizeof(inner));
		//CheckOBC_Task(0);
		tx_len = cam_build_response(inner, tx_buf);

	} else if (strncmp(inner_cmd, "TIM", 3) == 0) {
		tx_len = cam_build_response("TIM00", tx_buf);

	} else if (strncmp(inner_cmd, "CAP", 3) == 0) {

	    // Responde CAP00 pero difiere la escritura a MSFM
	    // Espera al comando PDN para evitar contención durante camera mission
	    // NO establecer flag_flash_saving ni pending_flash_write aquí

	    tx_len = cam_build_response("CAP00", tx_buf);
	    tx_busy = 1;
	    HAL_UART_Transmit(&UART_OBC, tx_buf, CAM_MSG_LEN, 500);
	    UART_OBC_ClearRxErrors();
	    tx_busy = 0;

	    PC_PrintHexN("[TX->OBC frame] ", tx_buf, tx_len);
	    PC_Print("\r\n");
	    PC_PrintHexN("[TX->OBC 64B ] ", tx_buf, CAM_MSG_LEN);
	    PC_Print("\r\n");

	    return;
	} else if (strncmp(inner_cmd, "JPG", 3) == 0) {
		tx_len = cam_build_response("JPG00", tx_buf);

	} else if (strncmp(inner_cmd, "CMC", 3) == 0) {
		tx_len = cam_build_response("CMC00", tx_buf);

	} else if (strncmp(inner_cmd, "PDN", 3) == 0) {

	    // Ahora que termina la camera mission, iniciar escritura a MSFM
	    // Esto evita contención con la secuencia de cámara
	    flag_flash_saving = 1;
	    pending_flash_write = 1;

	    tx_len = cam_build_response("PDN00", tx_buf);

	} else if (strncmp(inner_cmd, "RST", 3) == 0) {
		tx_len = cam_build_response("RST00", tx_buf);

	} else if (strncmp(inner_cmd, "OWT", 3) == 0) {
		tx_len = cam_build_response("OWT00", tx_buf);

	} else if (strncmp(inner_cmd, "CAN", 3) == 0) {
		tx_len = cam_build_response("CAN00", tx_buf);

	} else if (strncmp(inner_cmd, "NUM", 3) == 0) {
		tx_len = cam_build_response("NUM00000", tx_buf);

	} else if (strncmp(inner_cmd, "IMG", 3) == 0) {
		tx_len = cam_build_response("IMG000000000000", tx_buf);

	} else if (strncmp(inner_cmd, "CMW", 3) == 0) {
		tx_len = cam_build_response("CMW00", tx_buf);

	} else if (strncmp(inner_cmd, "CMR", 3) == 0) {
		tx_len = cam_build_response("CMR0000", tx_buf);

	} else {
		tx_len = cam_build_response("RST01", tx_buf);
	}
	//CheckOBC_Task(5);
	//HAL_Delay(20);
	if (tx_len > 0 && tx_buf[tx_len - 1] != 0xCB) {
		PC_Print("ERR: tx footer not CB!\r\n");
	}

	char dbg2[64];
	snprintf(dbg2, sizeof(dbg2), "DBG2: tx_len=%u last=%02X\r\n",
			(unsigned) tx_len, tx_buf[tx_len - 1]);
	PC_Print(dbg2);

	tx_busy = 1;
	HAL_UART_Transmit(&UART_OBC, tx_buf, CAM_MSG_LEN, 500);
	UART_OBC_ClearRxErrors();
	tx_busy = 0;
	//HAL_Delay(10);
	//CheckOBC_Task(5);
	// 1) Frame real (útil para ver header, inner, checksum y CB rápido)
	PC_PrintHexN("[TX->OBC frame] ", tx_buf, tx_len);
	PC_Print("\r\n");
	//CheckOBC_Task(5);
	// 2) Paquete completo (útil para confirmar padding y que CB sí está dentro de 64)
	PC_PrintHexN("[TX->OBC 64B ] ", tx_buf, CAM_MSG_LEN);
	PC_Print("\r\n");
}

// Makes sure Payload sends STS even while it is writing data to MSFM
// Footer-terminated parser (Main PIC style): header 0x0B ... checksum(2 ASCII) ... footer 0x0C
void CheckOBC_Task(uint32_t timeout_ms_unused)
{

	static uint8_t reentry = 0;
	if (reentry) return;
	reentry = 1;

    (void)timeout_ms_unused;

    // Buffer para un frame "variable", pero con límite
    static uint8_t rx_buf[CAM_MSG_LEN];   // puedes dejar 64 como máximo permitido
    static uint8_t rx_pos = 0;
    static uint8_t in_frame = 0;
    static uint32_t t0 = 0;

    const uint8_t HDR = OBC_HEADER;       // 0x0B
    const uint8_t FTR = (OBC_HEADER + 1); // 0x0C

    // Si se quedó a medias mucho tiempo, resetea
    if (in_frame && (HAL_GetTick() - t0) > 150) {
        in_frame = 0;
        rx_pos = 0;
    }

    // Si estás transmitiendo, no leas (tu lógica actual)
    /*
    if (tx_busy) {
        return;
    }
    */

    uint8_t b;

    // Lee todo lo disponible sin bloquear
    while (rxrb_pop(&b))
    {
        // Espera header
        if (!in_frame) {
            if (b == HDR) {
                in_frame = 1;
                rx_pos = 0;
                rx_buf[rx_pos++] = b;
                t0 = HAL_GetTick();
            }
            continue;
        }

        // Re-sync: si aparece un nuevo header dentro del frame, reinicia
        if (b == HDR) {
            rx_pos = 0;
            rx_buf[rx_pos++] = b;
            t0 = HAL_GetTick();
            continue;
        }

        // Guarda byte si hay espacio
        if (rx_pos < CAM_MSG_LEN) {
            rx_buf[rx_pos++] = b;
        } else {
            // overflow -> drop frame
            in_frame = 0;
            rx_pos = 0;
            continue;
        }

        // Si llegó footer, parsea YA (frame variable)
        if (b == FTR)
        {
        	PC_PrintHexN("[RX<-OBC frame] ", rx_buf, rx_pos);
        	PC_Print("\r\n");

            int footer_pos = (int)rx_pos - 1;   // índice donde está el footer

            // Necesitas mínimo: [HDR][3 cmd][2 cs][FTR] => 1 + 3 + 2 + 1 = 7
            // En general: inner_len >= 3
            if (footer_pos >= (1 + 3 + 2))
            {
                int inner_len = footer_pos - 1 - 2;  // bytes entre header y checksum
                if (inner_len > 0 && inner_len < INNER_MAX)
                {
                    char inner[INNER_MAX];
                    memcpy(inner, &rx_buf[1], inner_len);
                    inner[inner_len] = '\0';

                    char cs_ascii[3];
                    cs_ascii[0] = (char)rx_buf[footer_pos - 2];
                    cs_ascii[1] = (char)rx_buf[footer_pos - 1];
                    cs_ascii[2] = '\0';

                    uint8_t cs_rx = 0;
                    if (parse_hex2(cs_ascii, &cs_rx))
                    {
                        uint8_t cs_calc = cam_checksum(inner);

                        if (cs_rx == cs_calc) {
                            // OK -> encola comando
                            cmd_q_push(inner);
                        } else {
                        	pending_rst01 = 1;
                        }
                    }
                }
            }

            // Frame terminado: reset para el siguiente
            in_frame = 0;
            rx_pos = 0;

            // OJO: salimos para que el main loop procese cmd_q -> handle_cam_command()
            break;
        }
    }
    reentry = 0;

}

bool FLASH_WriteEnable(void)
{
	char dbg[64];
    uint8_t cmd = FLASH_CMD_WREN; // 0x06

    FLASH_CS_LOW();
    if (HAL_SPI_Transmit(&hspi2, &cmd, 1, 100) != HAL_OK) {
        FLASH_CS_HIGH();
        return false;
    }
    FLASH_CS_HIGH();

    // confirma WEL
    uint8_t sr = FLASH_ReadSR();
    snprintf(dbg, sizeof(dbg), "[DEBUG] SR before write: 0x%02X WEL=%d\r\n",
        sr, (sr & 0x02) ? 1 : 0);
    PC_Print(dbg);
    return true;
}

bool FLASH_WaitBusy(uint32_t timeout_ms) {
    uint8_t cmd = FLASH_CMD_RDSR; // 0x05
    uint8_t status = 0x01;
    uint32_t t0 = HAL_GetTick();
    uint32_t attempt = 0;

    while (1) {
        FLASH_CS_LOW();
        if (HAL_SPI_Transmit(&hspi2, &cmd, 1, 100) != HAL_OK) {
            FLASH_CS_HIGH();
            PC_Print("[FLASH][WAITBUSY] Transmit failed\r\n");
            return false;
        }
        if (HAL_SPI_Receive(&hspi2, &status, 1, 100) != HAL_OK) {
            FLASH_CS_HIGH();
            PC_Print("[FLASH][WAITBUSY] Receive failed\r\n");
            return false;
        }
        FLASH_CS_HIGH();

        if ((status & 0x01) == 0) {
            PC_Print("[FLASH][WAITBUSY] Done!\r\n");
            return true;
        }

        if ((HAL_GetTick() - t0) > timeout_ms) {
            char dbg[80];
            //snprintf(dbg, sizeof(dbg), "[FLASH][WAITBUSY] TIMEOUT at attempt %lu, last SR=0x%02X\r\n",
                     //attempt, status);
            //PC_Print(dbg);
            return false;
        }
        attempt++;
        HAL_Delay(10);
    }
}

bool FLASH_SectorErase(uint32_t addr)
{
    uint8_t cmd[5] = {
        FLASH_CMD_ERASE_SECT,
        (addr >> 24) & 0xFF,
        (addr >> 16) & 0xFF,
        (addr >>  8) & 0xFF,
        (addr >>  0) & 0xFF
    };

    //FLASH_PrintSR("[FLASH] Before WREN:");

    if (!FLASH_WriteEnable()) {
        //FLASH_PrintSR("[FLASH] After WREN fail:");
        return false;
    }

    //FLASH_PrintSR("[FLASH] After WREN:");

    FLASH_CS_LOW();
    HAL_Delay(1);  // Small delay before command
    if (HAL_SPI_Transmit(&hspi2, cmd, 5, 200) != HAL_OK) {
        FLASH_CS_HIGH();
        PC_Print("[FLASH][ERR] Erase TX failed\r\n");
        return false;
    }
    HAL_Delay(1);  // Small delay after command
    FLASH_CS_HIGH();

    // CRITICAL: Wait 750ms like Main PIC does
    HAL_Delay(750);  // <-- 750ms, not the polling loop
    // CRITICAL: Wait until WIP=0 (erase truly complete)
    if (!FLASH_WaitBusy(5000)) {
        PC_Print("[FLASH][ERR] Erase WaitBusy timeout\r\n");
        return false;
    }
    // Verificación post-erase: lee 4 bytes (deberían ser 0xFFFFFFFF)
    uint8_t verify[4] = {0};
    FLASH_Read_4B(addr, verify, 4);
    uint32_t verify_val = (uint32_t)verify[0] | ((uint32_t)verify[1] << 8) |
                          ((uint32_t)verify[2] << 16) | ((uint32_t)verify[3] << 24);

    char dbg[100];
    snprintf(dbg, sizeof(dbg), "[FLASH] Post-erase verify @ 0x%08lX: %02X %02X %02X %02X\r\n",
             (unsigned long)addr, verify[0], verify[1], verify[2], verify[3]);
    PC_Print(dbg);

    if (verify_val != 0xFFFFFFFF) {
        PC_Print("[FLASH][ERR] Sector erase FAILED - memory not cleared!\r\n");
        return false;
    }

    //FLASH_PrintSR("[FLASH] After ERASE done:");
    return true;
}

bool FLASH_PageProgram(uint32_t addr, const uint8_t *data, uint32_t len) {
    for (uint32_t i = 0; i < len; i++) {
        uint8_t cmd[5] = {
            FLASH_CMD_PP,
            (addr >> 24) & 0xFF,
            (addr >> 16) & 0xFF,
            (addr >> 8) & 0xFF,
            (addr >> 0) & 0xFF
        };

        if (!FLASH_WriteEnable()){
            PC_Print("[CAP]!FLASH_WriteEnable()\r\n");
            return false;
        }

        FLASH_CS_LOW();
        if (HAL_SPI_Transmit(&hspi2, cmd, 5, 200) != HAL_OK) {
            FLASH_CS_HIGH();
            return false;
        }
        if (HAL_SPI_Transmit(&hspi2, (uint8_t*)&data[i], 1, 200) != HAL_OK) {
            FLASH_CS_HIGH();
            return false;
        }
        FLASH_CS_HIGH();

        // CRÍTICO: Espera a que termine la escritura
        if (!FLASH_WaitBusy(5000)) {
            return false;
        }

        addr++;
    }
    return true;
}

static bool FLASH_WriteStatus(uint8_t sr)
{
    uint8_t cmd[2] = { 0x01, sr }; // WRSR

    if (!FLASH_WriteEnable()) {
        //PC_Print("[FLASH][ERR] WREN failed before WRSR\r\n");
        return false;
    }

    FLASH_CS_LOW();
    if (HAL_SPI_Transmit(&hspi2, cmd, 2, 200) != HAL_OK) {
        FLASH_CS_HIGH();
        PC_Print("[FLASH][ERR] WRSR TX failed\r\n");
        return false;
    }
    FLASH_CS_HIGH();

    return FLASH_WaitBusy(5000);
}

void FLASH_Read(uint32_t addr, uint8_t *data, uint32_t len) {
	uint8_t cmd[5];
	cmd[0] = FLASH_CMD_READ;
	cmd[1] = (addr >> 24) & 0xFF;
	cmd[2] = (addr >> 16) & 0xFF;
	cmd[3] = (addr >> 8) & 0xFF;
	cmd[4] = (addr >> 0) & 0xFF;

	FLASH_CS_LOW();
	HAL_SPI_Transmit(&hspi2, cmd, 5, 200);
	HAL_SPI_Receive(&hspi2, data, len, 200);
	FLASH_CS_HIGH();
}

bool FLASH_WriteLogToMissionFlash(void) {
	//CheckOBC_Task(5);
    PC_Print("[CAP] Enter FLASH_WriteLogToMissionFlash()\r\n");
    flag_flash_saving = 1;

    char dbg[96];
    uint32_t file_size = 0;
    //CheckOBC_Task(5);
    // 0) Decide cuántas muestras
    uint32_t samples_to_log = gyro_count;
    if (samples_to_log > MAX_SAMPLES_TO_LOG) samples_to_log = MAX_SAMPLES_TO_LOG;
    //CheckOBC_Task(5);
    snprintf(dbg, sizeof(dbg), "[CAP] gyro_count=%lu\r\n", (unsigned long)gyro_count);
    PC_Print(dbg);
    snprintf(dbg, sizeof(dbg), "[CAP] samples_to_log=%lu\r\n", (unsigned long)samples_to_log);
    PC_Print(dbg);

    //CheckOBC_Task(5);

    // 1) Construye payload de datos (t_ms,gx,gy,gz) = 10 bytes por muestra
    file_size = samples_to_log * BYTES_PER_SAMPLE;
    snprintf(dbg, sizeof(dbg), "[CAP] file_size=%lu bytes\r\n", (unsigned long)file_size);
    PC_Print(dbg);

    if (file_size > (FLASH_SLOT_SIZE - 0x10)) {
        flag_flash_saving = 0;
        return false;
    }
    //CheckOBC_Task(5);
    uint32_t base = GYRO_BASE_ADDR;
    snprintf(dbg, sizeof(dbg),
             "[CAP] SLOT=%lu  BASE=0x%08lX  (slot_size=%lu bytes)\r\n",
             (unsigned long)GYRO_SLOT_INDEX,
             (unsigned long)base,
             (unsigned long)FLASH_SLOT_SIZE);
    PC_Print(dbg);
    // 2) BORRA SOLO 1 SECTOR (64KB) -> suficiente para header+datos
    PC_Print("[CAP] Erasing only 1 sector (64KB)\r\n");
    if (!FLASH_SectorErase(base)) {
        PC_Print("[CAP][ERR] Sector erase failed\r\n");
        flag_flash_saving = 0;
        return false;
    }
    //CheckOBC_Task(5);

    // 3a) Escribir identificador "[Gyroscope]" (11 bytes)
    uint8_t gyro_tag[11] = {'[', 'G', 'y', 'r', 'o', 's', 'c', 'o', 'p', 'e', ']'};
    PC_Print("[CAP] Writing Gyroscope tag (11B)\r\n");
    if (!FLASH_PageProgram(base, gyro_tag, sizeof(gyro_tag))) {
        PC_Print("[CAP][ERR] Tag PageProgram failed\r\n");
        flag_flash_saving = 0;
        return false;
    }

    // DEBUG: Mostrar el tag escrito
    uint8_t rb_tag[11] = {0};
    FLASH_Read_4B(base, rb_tag, sizeof(rb_tag));
    FLASH_DumpHex("[CAP][WR] TAG: ", rb_tag, sizeof(rb_tag));

    // 3b) Header 16B
    uint8_t header[16] = {0};
    header[0] = (file_size & 0xFF);
    header[1] = (file_size >> 8) & 0xFF;
    header[2] = (file_size >> 16) & 0xFF;
    header[3] = (file_size >> 24) & 0xFF;

    uint32_t addr_header = base + sizeof(gyro_tag);  // Después del tag
    //CheckOBC_Task(5);
    PC_Print("[CAP] Writing header (16B)\r\n");
    if (!FLASH_PageProgram(addr_header, header, sizeof(header))) {  // ← AQUÍ: addr_header, no base
        PC_Print("[CAP][ERR] Header PageProgram failed\r\n");
        flag_flash_saving = 0;
        return false;
    }
    //CheckOBC_Task(5);
    // --- DEBUG: readback del header ---
    uint8_t rb_hdr[16] = {0};
    FLASH_Read_4B(addr_header, rb_hdr, sizeof(rb_hdr));

    FLASH_DumpHex("[CAP][WR] HDR: ", header, sizeof(header));
    //FLASH_DumpHex("[CAP][RB] HDR: ", rb_hdr, sizeof(rb_hdr));

    // 4) Escribir 1 muestra (después del tag + header)
    uint32_t addr = addr_header + sizeof(header);

    if (gyro_count == 0) {
        PC_Print("[CAP][ERR] No samples in RAM\r\n");
        flag_flash_saving = 0;
        return false;
    }
    //CheckOBC_Task(5);
    uint8_t row[BYTES_PER_SAMPLE];
    uint32_t idx = gyro_count - 1;

    uint32_t ts = gyro_log[idx].t_ms;
    int16_t gx = gyro_log[idx].gx;
    int16_t gy = gyro_log[idx].gy;
    int16_t gz = gyro_log[idx].gz;

    //CheckOBC_Task(5);

    // t_ms (uint32_t) little-endian
    row[0] = (uint8_t)(ts & 0xFF);
    row[1] = (uint8_t)((ts >> 8) & 0xFF);
    row[2] = (uint8_t)((ts >> 16) & 0xFF);
    row[3] = (uint8_t)((ts >> 24) & 0xFF);
    //CheckOBC_Task(5);
    // gx, gy, gz (int16_t) little-endian
    row[4] = (uint8_t)(gx & 0xFF);
    row[5] = (uint8_t)((gx >> 8) & 0xFF);
    row[6] = (uint8_t)(gy & 0xFF);
    row[7] = (uint8_t)((gy >> 8) & 0xFF);
    row[8] = (uint8_t)(gz & 0xFF);
    row[9] = (uint8_t)((gz >> 8) & 0xFF);
    //CheckOBC_Task(5);
    if (!FLASH_PageProgram(addr, row, sizeof(row))) {
        snprintf(dbg, sizeof(dbg),
                 "[CAP][ERR] Data write failed @ 0x%08lX\r\n",
                 (unsigned long)addr);
        PC_Print(dbg);
        flag_flash_saving = 0;
        return false;
    }
    //CheckOBC_Task(5);

    // --- DEBUG: readback de la muestra ---
    uint8_t rb_row[BYTES_PER_SAMPLE] = {0};
    FLASH_Read_4B(addr, rb_row, sizeof(rb_row));

    snprintf(dbg, sizeof(dbg),
             "[CAP] DATA_ADDR=0x%08lX  bytes=%u\r\n",
             (unsigned long)addr, (unsigned)BYTES_PER_SAMPLE);
    PC_Print(dbg);

    FLASH_DumpHex("[CAP][WR] ROW: ", row, sizeof(row));
    //FLASH_DumpHex("[CAP][RB] ROW: ", rb_row, sizeof(rb_row));
    // Comprehensive dump of all written data (37 bytes total)
    uint8_t all_data[37] = {0};
    FLASH_Read_4B(base, all_data, 37);
    FLASH_DumpHex("[CAP][COMPLETE] ALL 37B @ 0x02C00000: ", all_data, 37);

    flag_flash_saving = 0;
    PC_Print("[CAP] Flash write SUCCESS\r\n");
    return true;
}

/* Construye el inner "STSEEB0B1B2" dinámicamente */
static void build_STS_inner(char *inner, size_t inner_size) {
	uint8_t EE = 0x00;

	/* Calculate error code EE */
	if (!gyro_ok) {
		// WHO_AM_I failed
		EE = 0x01;
	}

	char b0 = flag_capture_active ? '1' : '0';   // log (RAM)
	char b1 = flag_flash_saving ? '1' : '0';   // storing to MSFM
	char b2 = flag_data_transfer ? '1' : '0';   // transfer data (not used yet)
	//CheckOBC_Task(0);
	// Thus: "STS" + EE(2 hex) + B0 + B1 + B2
	snprintf(inner, inner_size, "STS%02X%c%c%c", EE, b0, b1, b2);
}

/* USER CODE END 4 */

void Error_Handler(void)
{
	__disable_irq();
	while (1) {
	}
}
